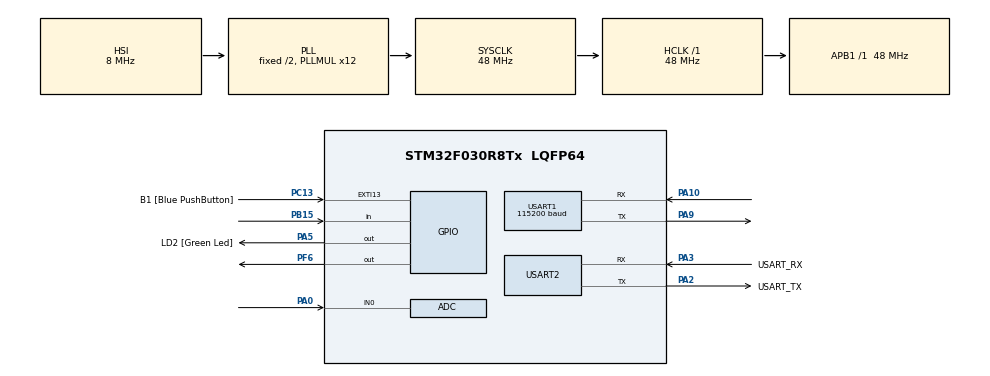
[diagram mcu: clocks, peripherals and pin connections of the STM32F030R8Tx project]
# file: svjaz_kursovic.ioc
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Dma.ADC.0.Direction=DMA_PERIPH_TO_MEMORY
Dma.ADC.0.Instance=DMA1_Channel1
Dma.ADC.0.MemDataAlignment=DMA_MDATAALIGN_HALFWORD
Dma.ADC.0.MemInc=DMA_MINC_ENABLE
Dma.ADC.0.Mode=DMA_CIRCULAR
Dma.ADC.0.PeriphDataAlignment=DMA_PDATAALIGN_HALFWORD
Dma.ADC.0.PeriphInc=DMA_PINC_DISABLE
Dma.ADC.0.Priority=DMA_PRIORITY_LOW
Dma.Request0=ADC
Mcu.Family=STM32F0
Mcu.Name=STM32F030R8Tx
Mcu.Package=LQFP64
NVIC.DMA1_Channel1_IRQn=true\:0\:0\:false\:false\:true\:false\:true\:true
NVIC.USART1_IRQn=true\:0\:0\:false\:false\:true\:true\:true\:true
PA0.Mode=IN0
PA0.Signal=ADC_IN0
PA10.Mode=Asynchronous
PA10.Signal=USART1_RX
PA13.GPIO_Label=TMS
PA13.Mode=Serial_Wire
PA13.Signal=SYS_SWDIO
PA14.GPIO_Label=TCK
PA14.Mode=Serial_Wire
PA14.Signal=SYS_SWCLK
PA2.GPIO_Label=USART_TX
PA2.GPIO_Mode=GPIO_MODE_AF_PP
PA2.GPIO_PuPd=GPIO_NOPULL
PA2.GPIO_Speed=GPIO_SPEED_FREQ_LOW
PA2.Mode=Asynchronous
PA2.Signal=USART2_TX
PA3.GPIO_Label=USART_RX
PA3.GPIO_Mode=GPIO_MODE_AF_PP
PA3.GPIO_PuPd=GPIO_NOPULL
PA3.GPIO_Speed=GPIO_SPEED_FREQ_LOW
PA3.Mode=Asynchronous
PA3.Signal=USART2_RX
PA5.GPIO_Label=LD2 [Green Led]
PA5.GPIO_Mode=GPIO_MODE_OUTPUT_PP
PA5.GPIO_PuPd=GPIO_NOPULL
PA5.GPIO_Speed=GPIO_SPEED_FREQ_LOW
PA5.Signal=GPIO_Output
PA9.Mode=Asynchronous
PA9.Signal=USART1_TX
PB15.Signal=GPIO_Input
PC13.GPIO_Label=B1 [Blue PushButton]
PC13.GPIO_ModeDefaultEXTI=GPIO_MODE_IT_FALLING
PC13.Signal=GPXTI13
PC14-OSC32_IN.Mode=LSE-External-Oscillator
PC14-OSC32_IN.Signal=RCC_OSC32_IN
PC15-OSC32_OUT.Mode=LSE-External-Oscillator
PC15-OSC32_OUT.Signal=RCC_OSC32_OUT
PF0-OSC_IN.Mode=HSE-External-Clock-Source
PF0-OSC_IN.Signal=RCC_OSC_IN
PF1-OSC_OUT.Signal=RCC_OSC_OUT
PF6.Signal=GPIO_Output
ProjectManager.HeapSize=0x200
ProjectManager.StackSize=0x400
ProjectManager.TargetToolchain=STM32CubeIDE
RCC.AHBFreq_Value=48000000
RCC.APB1Freq_Value=48000000
RCC.APB1TimFreq_Value=48000000
RCC.HCLKFreq_Value=48000000
RCC.PLLMUL=RCC_PLL_MUL12
RCC.SYSCLKFreq_VALUE=48000000
RCC.SYSCLKSource=RCC_SYSCLKSOURCE_PLLCLK
USART1.BaudRate=115200
USART1.VirtualMode-Asynchronous=VM_ASYNC
USART2.VirtualMode-Asynchronous=VM_ASYNC
VP_TIM3_VS_ClockSourceINT.Mode=Internal
board=NUCLEO-F030R8

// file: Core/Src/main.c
/* USER CODE BEGIN Header */
/**
 ******************************************************************************
 * @file           : main.c
 * @brief          : Main program body
 ******************************************************************************
 * @attention
 *
 * Copyright (c) 2023 STMicroelectronics.
 * All rights reserved.
 *
 * This software is licensed under terms that can be found in the LICENSE file
 * in the root directory of this software component.
 * If no LICENSE file comes with this software, it is provided AS-IS.
 *
 ******************************************************************************
 */
/* USER CODE END Header */
#include "main.h"

/* USER CODE BEGIN Includes */
#include "DHT.h"
#include <stdio.h>
#include <string.h>

/* USER CODE END Includes */

/* USER CODE BEGIN PD */
#define BUFFER_SIZE 2

/* USER CODE END PD */

/* USER CODE BEGIN PM */
const float k = 403;
const float a = 388;

/* USER CODE END PM */

ADC_HandleTypeDef hadc;
DMA_HandleTypeDef hdma_adc;

TIM_HandleTypeDef htim3;

UART_HandleTypeDef huart1;
UART_HandleTypeDef huart2;

/* USER CODE BEGIN PV */
char msg[40];
char msg2[40];

uint8_t receive_esp2[BUFFER_SIZE];

//uint8_t msg_esp[2];
uint8_t msg_esp2[1];
uint16_t msg_esp3[4];
uint8_t msg_esp1;
volatile uint8_t dataReceived = 0; // признак данное получено

/* USER CODE END PV */

void SystemClock_Config(void);
static void MX_GPIO_Init(void);
static void MX_DMA_Init(void);
static void MX_USART2_UART_Init(void);
static void MX_ADC_Init(void);
static void MX_TIM3_Init(void);
static void MX_USART1_UART_Init(void);

/* USER CODE BEGIN 0 */
uint32_t volatile adc_raw = 0;

/* USER CODE END 0 */

int main(void) {
	/* USER CODE BEGIN 1 */

	DHT_sensor livingRoom = { GPIOB, GPIO_PIN_15, DHT11, GPIO_PULLUP };

	/* USER CODE END 1 */

	/* MCU Configuration--------------------------------------------------------*/

	/* Reset of all peripherals, Initializes the Flash interface and the Systick. */
	HAL_Init();

	/* Configure the system clock */
	SystemClock_Config();

	/* Initialize all configured peripherals */
	MX_GPIO_Init();
	MX_DMA_Init();
	MX_USART2_UART_Init();
	MX_ADC_Init();
	MX_TIM3_Init();
	MX_USART1_UART_Init();
	/* USER CODE BEGIN 2 */

	HAL_ADC_Start(&hadc);
	HAL_TIM_Base_Start(&htim3);
	HAL_ADC_PollForConversion(&hadc, 10);
	adc_raw = HAL_ADC_GetValue(&hadc);

	uint16_t brightness = -1;
	uint16_t rezistor = 0;
	uint8_t flagauto = 0;
	float threshold = 0;

    /*
     *
     * Куча полезных исправлений ))
     *
     * */

	/* USER CODE END 2 */

	/* Infinite loop */
	/* USER CODE BEGIN WHILE */
	HAL_UART_Receive_IT(&huart1, receive_esp2, 2); //приходит значение по уарт и ниже в колбеке проверяем
	while (1) {
		//Получение данных с датчика DHT11
		DHT_data d = DHT_getData(&livingRoom);
		HAL_ADC_Start(&hadc); //начать работу АЦП (адрес оператора первого АЦП)
		HAL_ADC_PollForConversion(&hadc, 10); //ждем пока произойдет подсчет напряжения (арес оператора и таймаут (10 милисекунд)
		brightness = HAL_ADC_GetValue(&hadc); //получение значения, которое ждали

		//ниже описание автоматического вкл светодиода в засимости от освещения
		//rezistor = brightness > 3000;
		//HAL_GPIO_WritePin(GPIOF, GPIO_PIN_6, rezistor);

		uint8_t startbyte = 0xFF;
		msg_esp3[0] = (uint16_t) d.temp; //данные с датчика "температрура" кладем по первому индексу в массиве
		msg_esp3[1] = (uint16_t) d.hum; //данные с датчика "влажность" кладем по второму индексу в массиве
		msg_esp3[2] = brightness;		//непосредственно данные об освещении
		msg_esp3[3] = rezistor;	//данные с транзистора, открывают закрывают его

		//HAL_UART_Transmit(&huart2, (uint16_t*)msg, strlen(msg), 0xFF);
		HAL_UART_Transmit(&huart1, &startbyte, 1, 1000);//функция читает по адресу, а не значение
		HAL_UART_Transmit(&huart1, (uint8_t*) msg_esp3, 8, 1000);
		HAL_Delay(500);

		if (flagauto)
		{
				rezistor = brightness > threshold;
				HAL_GPIO_WritePin(GPIOF, GPIO_PIN_6, rezistor);
		}
		if (dataReceived) // если поднят флаг (==1), значит прием закончен и начинаем обработку принятых данных
		{
			flagauto = 0;
			sprintf(msg2, "%d\r\n", receive_esp2[0]); // чисто для вывода в монитор (печатаем данные в строку в массив)
			HAL_UART_Transmit(&huart2, (uint16_t*) msg2, strlen(msg2), 0xFF); // отправляем по уарт в монитор порта
			if (receive_esp2[0] == '1') // делаем доп проверку, чтобы отбросить мусор, читаем только если придет конкретно 1 или 0
					{
				rezistor = 1;
				HAL_GPIO_WritePin(GPIOF, GPIO_PIN_6, rezistor); // в зависисмости от того что пришло '1' или '0', отправляем на транзистор
			} else if (receive_esp2[0] == '0') // 48 и 49- эквивалентно 1 в обоих случаях. т.е высокий уровень,
											   // поэтому отправляем 0 или 1 отдельной строкой а не то что пришло
					{
				rezistor = 0;
				HAL_GPIO_WritePin(GPIOF, GPIO_PIN_6, rezistor);
			}

			else if (receive_esp2[0] == '2') {
				flagauto = 1;
				threshold = (float)((receive_esp2[1])-'0')*k + a;
				sprintf(msg2, "%d\r\n", threshold);
				HAL_UART_Transmit(&huart2, (uint16_t*) msg2, strlen(msg2), 0xFF);

			}
			dataReceived = 0;
			HAL_UART_Receive_IT(&huart1, receive_esp2, 2);
		}

		/* USER CODE END WHILE */

	}
}

void SystemClock_Config(void) {
	RCC_OscInitTypeDef RCC_OscInitStruct = { 0 };
	RCC_ClkInitTypeDef RCC_ClkInitStruct = { 0 };
	RCC_PeriphCLKInitTypeDef PeriphClkInit = { 0 };

	/** Initializes the RCC Oscillators according to the specified parameters
	 * in the RCC_OscInitTypeDef structure.
	 */
	RCC_OscInitStruct.OscillatorType = RCC_OSCILLATORTYPE_HSI
			| RCC_OSCILLATORTYPE_HSI14;
	RCC_OscInitStruct.HSIState = RCC_HSI_ON;
	RCC_OscInitStruct.HSI14State = RCC_HSI14_ON;
	RCC_OscInitStruct.HSICalibrationValue = RCC_HSICALIBRATION_DEFAULT;
	RCC_OscInitStruct.HSI14CalibrationValue = 16;
	RCC_OscInitStruct.PLL.PLLState = RCC_PLL_ON;
	RCC_OscInitStruct.PLL.PLLSource = RCC_PLLSOURCE_HSI;
	RCC_OscInitStruct.PLL.PLLMUL = RCC_PLL_MUL12;
	RCC_OscInitStruct.PLL.PREDIV = RCC_PREDIV_DIV1;
	if (HAL_RCC_OscConfig(&RCC_OscInitStruct) != HAL_OK) {
		Error_Handler();
	}

	/** Initializes the CPU, AHB and APB buses clocks
	 */
	RCC_ClkInitStruct.ClockType = RCC_CLOCKTYPE_HCLK | RCC_CLOCKTYPE_SYSCLK
			| RCC_CLOCKTYPE_PCLK1;
	RCC_ClkInitStruct.SYSCLKSource = RCC_SYSCLKSOURCE_PLLCLK;
	RCC_ClkInitStruct.AHBCLKDivider = RCC_SYSCLK_DIV1;
	RCC_ClkInitStruct.APB1CLKDivider = RCC_HCLK_DIV1;

	if (HAL_RCC_ClockConfig(&RCC_ClkInitStruct, FLASH_LATENCY_1) != HAL_OK) {
		Error_Handler();
	}
	PeriphClkInit.PeriphClockSelection = RCC_PERIPHCLK_USART1;
	PeriphClkInit.Usart1ClockSelection = RCC_USART1CLKSOURCE_PCLK1;
	if (HAL_RCCEx_PeriphCLKConfig(&PeriphClkInit) != HAL_OK) {
		Error_Handler();
	}
}

static void MX_ADC_Init(void) {

	ADC_ChannelConfTypeDef sConfig = { 0 };

	/** Configure the global features of the ADC (Clock, Resolution, Data Alignment and number of conversion)
	 */
	hadc.Instance = ADC1;
	hadc.Init.ClockPrescaler = ADC_CLOCK_ASYNC_DIV1;
	hadc.Init.Resolution = ADC_RESOLUTION_12B;
	hadc.Init.DataAlign = ADC_DATAALIGN_RIGHT;
	hadc.Init.ScanConvMode = ADC_SCAN_DIRECTION_FORWARD;
	hadc.Init.EOCSelection = ADC_EOC_SINGLE_CONV;
	hadc.Init.LowPowerAutoWait = DISABLE;
	hadc.Init.LowPowerAutoPowerOff = DISABLE;
	hadc.Init.ContinuousConvMode = DISABLE;
	hadc.Init.DiscontinuousConvMode = DISABLE;
	hadc.Init.ExternalTrigConv = ADC_SOFTWARE_START;
	hadc.Init.ExternalTrigConvEdge = ADC_EXTERNALTRIGCONVEDGE_NONE;
	hadc.Init.DMAContinuousRequests = DISABLE;
	hadc.Init.Overrun = ADC_OVR_DATA_PRESERVED;
	if (HAL_ADC_Init(&hadc) != HAL_OK) {
		Error_Handler();
	}

	/** Configure for the selected ADC regular channel to be converted.
	 */
	sConfig.Channel = ADC_CHANNEL_0;
	sConfig.Rank = ADC_RANK_CHANNEL_NUMBER;
	sConfig.SamplingTime = ADC_SAMPLETIME_1CYCLE_5;
	if (HAL_ADC_ConfigChannel(&hadc, &sConfig) != HAL_OK) {
		Error_Handler();
	}

}

static void MX_TIM3_Init(void) {

	TIM_ClockConfigTypeDef sClockSourceConfig = { 0 };
	TIM_MasterConfigTypeDef sMasterConfig = { 0 };

	htim3.Instance = TIM3;
	htim3.Init.Prescaler = 0;
	htim3.Init.CounterMode = TIM_COUNTERMODE_UP;
	htim3.Init.Period = 65535;
	htim3.Init.ClockDivision = TIM_CLOCKDIVISION_DIV1;
	htim3.Init.AutoReloadPreload = TIM_AUTORELOAD_PRELOAD_DISABLE;
	if (HAL_TIM_Base_Init(&htim3) != HAL_OK) {
		Error_Handler();
	}
	sClockSourceConfig.ClockSource = TIM_CLOCKSOURCE_INTERNAL;
	if (HAL_TIM_ConfigClockSource(&htim3, &sClockSourceConfig) != HAL_OK) {
		Error_Handler();
	}
	sMasterConfig.MasterOutputTrigger = TIM_TRGO_RESET;
	sMasterConfig.MasterSlaveMode = TIM_MASTERSLAVEMODE_DISABLE;
	if (HAL_TIMEx_MasterConfigSynchronization(&htim3, &sMasterConfig)
			!= HAL_OK) {
		Error_Handler();
	}

}

static void MX_USART1_UART_Init(void) {

	huart1.Instance = USART1;
	huart1.Init.BaudRate = 115200;
	huart1.Init.WordLength = UART_WORDLENGTH_8B;
	huart1.Init.StopBits = UART_STOPBITS_1;
	huart1.Init.Parity = UART_PARITY_NONE;
	huart1.Init.Mode = UART_MODE_TX_RX;
	huart1.Init.HwFlowCtl = UART_HWCONTROL_NONE;
	huart1.Init.OverSampling = UART_OVERSAMPLING_16;
	huart1.Init.OneBitSampling = UART_ONE_BIT_SAMPLE_DISABLE;
	huart1.AdvancedInit.AdvFeatureInit = UART_ADVFEATURE_NO_INIT;
	if (HAL_UART_Init(&huart1) != HAL_OK) {
		Error_Handler();
	}

}

static void MX_USART2_UART_Init(void) {

	huart2.Instance = USART2;
	huart2.Init.BaudRate = 38400;
	huart2.Init.WordLength = UART_WORDLENGTH_8B;
	huart2.Init.StopBits = UART_STOPBITS_1;
	huart2.Init.Parity = UART_PARITY_NONE;
	huart2.Init.Mode = UART_MODE_TX_RX;
	huart2.Init.HwFlowCtl = UART_HWCONTROL_NONE;
	huart2.Init.OverSampling = UART_OVERSAMPLING_16;
	huart2.Init.OneBitSampling = UART_ONE_BIT_SAMPLE_DISABLE;
	huart2.AdvancedInit.AdvFeatureInit = UART_ADVFEATURE_NO_INIT;
	if (HAL_UART_Init(&huart2) != HAL_OK) {
		Error_Handler();
	}

}

static void MX_DMA_Init(void) {

	/* DMA controller clock enable */
	__HAL_RCC_DMA1_CLK_ENABLE();

	/* DMA interrupt init */
	/* DMA1_Channel1_IRQn interrupt configuration */
	HAL_NVIC_SetPriority(DMA1_Channel1_IRQn, 0, 0);
	HAL_NVIC_EnableIRQ(DMA1_Channel1_IRQn);

}

static void MX_GPIO_Init(void) {
	GPIO_InitTypeDef GPIO_InitStruct = { 0 };

	/* GPIO Ports Clock Enable */
	__HAL_RCC_GPIOC_CLK_ENABLE();
	__HAL_RCC_GPIOF_CLK_ENABLE();
	__HAL_RCC_GPIOA_CLK_ENABLE();
	__HAL_RCC_GPIOB_CLK_ENABLE();

	/*Configure GPIO pin Output Level */
	HAL_GPIO_WritePin(LD2_GPIO_Port, LD2_Pin, GPIO_PIN_RESET);

	/*Configure GPIO pin Output Level */
	HAL_GPIO_WritePin(GPIOF, GPIO_PIN_6, GPIO_PIN_RESET);

	/*Configure GPIO pin : B1_Pin */
	GPIO_InitStruct.Pin = B1_Pin;
	GPIO_InitStruct.Mode = GPIO_MODE_IT_FALLING;
	GPIO_InitStruct.Pull = GPIO_NOPULL;
	HAL_GPIO_Init(B1_GPIO_Port, &GPIO_InitStruct);

	/*Configure GPIO pin : LD2_Pin */
	GPIO_InitStruct.Pin = LD2_Pin;
	GPIO_InitStruct.Mode = GPIO_MODE_OUTPUT_PP;
	GPIO_InitStruct.Pull = GPIO_NOPULL;
	GPIO_InitStruct.Speed = GPIO_SPEED_FREQ_LOW;
	HAL_GPIO_Init(LD2_GPIO_Port, &GPIO_InitStruct);

	/*Configure GPIO pin : PB15 */
	GPIO_InitStruct.Pin = GPIO_PIN_15;
	GPIO_InitStruct.Mode = GPIO_MODE_INPUT;
	GPIO_InitStruct.Pull = GPIO_NOPULL;
	HAL_GPIO_Init(GPIOB, &GPIO_InitStruct);

	/*Configure GPIO pin : PF6 */
	GPIO_InitStruct.Pin = GPIO_PIN_6;
	GPIO_InitStruct.Mode = GPIO_MODE_OUTPUT_PP;
	GPIO_InitStruct.Pull = GPIO_NOPULL;
	GPIO_InitStruct.Speed = GPIO_SPEED_FREQ_LOW;
	HAL_GPIO_Init(GPIOF, &GPIO_InitStruct);

}

/* USER CODE BEGIN 4 */

void HAL_UART_RxCpltCallback(UART_HandleTypeDef *huart) { //Callback-функция завершения приема данных

	if (huart == &huart1) { //на все уарты вызывается один и тот же коллбэк, в него передается какой то уарт.
							// в коллбэке проверяем какой уарт. Если прием по уарту1 то.....

		dataReceived = 1; // признак данное получено
	}
}

/* USER CODE END 4 */

void Error_Handler(void) {
	__disable_irq();
	while (1) {
	}
}
